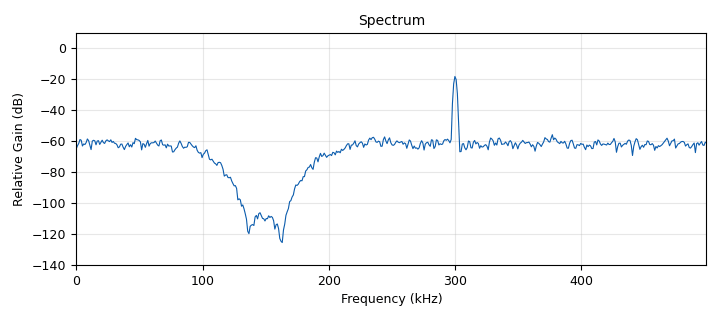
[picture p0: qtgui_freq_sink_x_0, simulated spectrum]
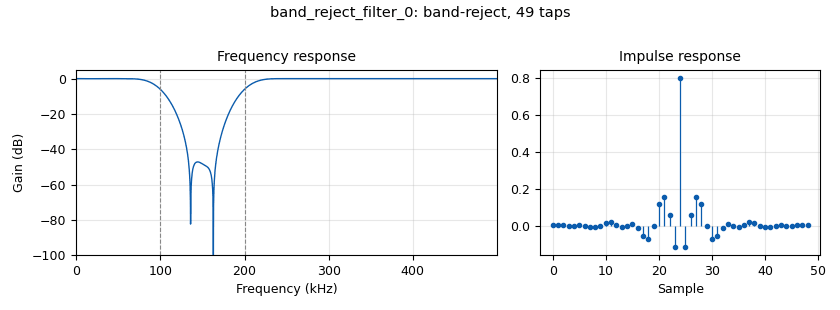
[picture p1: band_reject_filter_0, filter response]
options:
  parameters:
    author: Ettus Research
    category: Custom
    description: Example usage of basic filters
    generate_options: qt_gui
    id: filters_basic
    output_language: python
    title: Basic Filter Examples
  states: {}

blocks:
- name: high_cutoff
  id: variable_qtgui_range
  parameters:
    gui_hint: 1, 2, 1, 2
    label: High Cutoff
    outputmsgname: value
    showports: 'False'
    start: '0'
    step: '1'
    stop: samp_rate/2
    value: 200e3
  states: {}
- name: low_cutoff
  id: variable_qtgui_range
  parameters:
    gui_hint: 1, 0, 1, 2
    label: Low Cutoff
    outputmsgname: value
    showports: 'False'
    start: '0'
    step: '1'
    stop: samp_rate/2
    value: 100e3
  states: {}
- name: noise_amp
  id: variable_qtgui_range
  parameters:
    gui_hint: 0, 3, 1, 3
    label: Noise
    outputmsgname: value
    showports: 'False'
    start: '0'
    step: '.1'
    stop: '1'
    value: '.1'
  states: {}
- name: samp_rate
  id: variable
  parameters:
    value: 1e6
  states: {}
- name: sine_freq
  id: variable_qtgui_range
  parameters:
    gui_hint: 0, 0, 1, 3
    label: Sine Frequency
    outputmsgname: value
    showports: 'False'
    start: '0'
    step: 1e3
    stop: 1e6
    value: 300e3
  states: {}
- name: transition
  id: variable_qtgui_range
  parameters:
    gui_hint: 1, 4, 1, 2
    label: Transition
    outputmsgname: value
    showports: 'False'
    start: 1e3
    step: '1'
    stop: 100e3
    value: 50e3
  states: {}
- name: analog_noise_source_x_0
  id: analog_noise_source_x
  parameters:
    amp: noise_amp
    noise_type: analog.GR_GAUSSIAN
    seed: '0'
    type: complex
  states: {}
- name: analog_sig_source_x_0
  id: analog_sig_source_x
  parameters:
    amp: '.7'
    freq: sine_freq
    offset: '0'
    phase: '0'
    samp_rate: samp_rate
    type: complex
    waveform: analog.GR_COS_WAVE
  states: {}
- name: band_pass_filter_0
  id: band_pass_filter
  parameters:
    gain: '1'
    high_cutoff_freq: high_cutoff
    interp: '1'
    low_cutoff_freq: low_cutoff
    samp_rate: samp_rate
    type: interp_fir_filter_fff
    width: transition
    win: window.WIN_HAMMING
  states: {state: disabled}
- name: band_reject_filter_0
  id: band_reject_filter
  parameters:
    gain: '1'
    high_cutoff_freq: high_cutoff
    interp: '1'
    low_cutoff_freq: low_cutoff
    samp_rate: samp_rate
    type: interp_fir_filter_fff
    width: transition
    win: window.WIN_HAMMING
  states: {}
- name: blocks_add_xx_0
  id: blocks_add_xx
  parameters:
    type: complex
  states: {}
- name: blocks_complex_to_float_0
  id: blocks_complex_to_float
  parameters: {}
  states: {}
- name: blocks_throttle_0
  id: blocks_throttle
  parameters:
    samples_per_second: samp_rate
    type: complex
  states: {}
- name: high_pass_filter_0
  id: high_pass_filter
  parameters:
    cutoff_freq: low_cutoff
    gain: '1'
    interp: '1'
    samp_rate: samp_rate
    type: interp_fir_filter_fff
    width: transition
    win: window.WIN_HAMMING
  states: {state: disabled}
- name: low_pass_filter_0
  id: low_pass_filter
  parameters:
    cutoff_freq: high_cutoff
    decim: '1'
    gain: '1'
    samp_rate: samp_rate
    type: fir_filter_fff
    width: transition
    win: window.WIN_HAMMING
  states: {state: disabled}
- name: qtgui_freq_sink_x_0
  id: qtgui_freq_sink_x
  parameters:
    average: '0.2'
    bw: samp_rate
    fc: '0'
    fftsize: '1024'
    freqhalf: 'False'
    gui_hint: 2, 0, 1,6
    name: '"Spectrum"'
    showports: 'True'
    type: float
  states: {}

connections:
- [analog_noise_source_x_0, '0', blocks_add_xx_0, '1']
- [analog_sig_source_x_0, '0', blocks_add_xx_0, '0']
- [band_pass_filter_0, '0', qtgui_freq_sink_x_0, '0']
- [band_reject_filter_0, '0', qtgui_freq_sink_x_0, '0']
- [blocks_add_xx_0, '0', blocks_throttle_0, '0']
- [blocks_complex_to_float_0, '0', band_pass_filter_0, '0']
- [blocks_complex_to_float_0, '0', band_reject_filter_0, '0']
- [blocks_complex_to_float_0, '0', high_pass_filter_0, '0']
- [blocks_complex_to_float_0, '0', low_pass_filter_0, '0']
- [blocks_throttle_0, '0', blocks_complex_to_float_0, '0']
- [high_pass_filter_0, '0', qtgui_freq_sink_x_0, '0']
- [low_pass_filter_0, '0', qtgui_freq_sink_x_0, '0']

metadata:
  file_format: 1
  grc_version: 3.10.4.0
